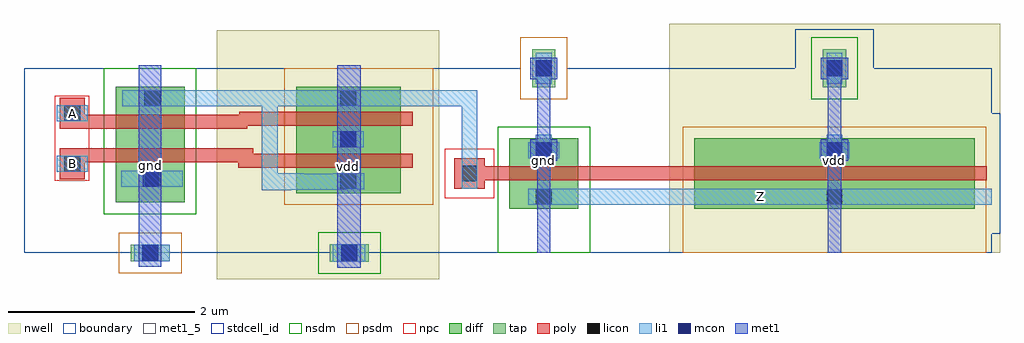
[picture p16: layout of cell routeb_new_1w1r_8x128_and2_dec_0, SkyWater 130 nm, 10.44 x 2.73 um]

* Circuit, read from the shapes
.subckt routeb_new_1w1r_8x128_and2_dec_0 A B Z gnd vdd
XM1 n1 B gnd gnd sky130_fd_pr__nfet_01v8 w=0.74 l=0.15
XM2 routeb_new_1w1r_8x128_pinv_dec_0_1/A A n1 gnd sky130_fd_pr__nfet_01v8 w=0.74 l=0.15
XM3 gnd routeb_new_1w1r_8x128_pinv_dec_0_1/A Z gnd sky130_fd_pr__nfet_01v8 w=0.74 l=0.15
XM4 vdd B routeb_new_1w1r_8x128_pinv_dec_0_1/A vdd sky130_fd_pr__pfet_01v8 w=1.12 l=0.15
XM5 routeb_new_1w1r_8x128_pinv_dec_0_1/A A vdd vdd sky130_fd_pr__pfet_01v8 w=1.12 l=0.15
XM6 vdd routeb_new_1w1r_8x128_pinv_dec_0_1/A Z vdd sky130_fd_pr__pfet_01v8 w=3 l=0.15
.ends

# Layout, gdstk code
from math import pi, radians
import gdstk
lib = gdstk.Library(unit=1e-6, precision=1e-09)
def R(c, l, rs):  # rectangles x0, y0, x1, y1
    for r in rs: c.add(gdstk.rectangle(r[:2], r[2:], *l))
nwell = (64, 20)
diff = (65, 20)
tap = (65, 44)
poly = (66, 20)
licon = (66, 44)
li1 = (67, 20)
mcon = (67, 44)
met1_5 = (68, 5)
met1 = (68, 20)
stdcell_id = (81, 4)
nsdm = (93, 44)
psdm = (94, 20)
npc = (95, 20)
boundary = (235, 4)

sky130_fd_bd_sram__openr = lib.new_cell('sky130_fd_bd_sram__openram_dp_nand2_dec')
R(sky130_fd_bd_sram__openr, nwell, [(2.06,-0.28,4.44,2.38)])
R(sky130_fd_bd_sram__openr, diff, [(0.98,0.54,1.72,1.78), (2.91,0.64,4.03,1.78)])
R(sky130_fd_bd_sram__openr, tap, [(3.27,-0.095,3.69,0.095), (1.14,-0.09,1.56,0.09)])
R(sky130_fd_bd_sram__openr, poly, [(0.38,0.79,0.65,0.97), (2.29,0.91,4.16,0.97), (0.38,0.97,4.16,1.06), (0.38,1.06,2.45,1.12), (0.38,1.33,2.39,1.36), (0.38,1.36,4.16,1.48), (0.38,1.48,0.65,1.66), (2.3,1.48,4.16,1.51)])
R(sky130_fd_bd_sram__openr, licon, [(1.265,-0.085,1.435,0.085), (3.395,-0.085,3.565,0.085), (3.385,0.68,3.555,0.85), (1.295,0.71,1.465,0.88), (0.43,0.87,0.6,1.04), (3.385,1.13,3.555,1.3), (0.43,1.41,0.6,1.58), (1.285,1.57,1.455,1.74), (3.385,1.57,3.555,1.74)])
R(sky130_fd_bd_sram__openr, li1, [(3.3,-0.095,3.65,0.095), (1.18,-0.09,1.56,0.09), (2.545,0.67,2.86,0.675), (2.545,0.675,3.425,0.68), (2.545,0.68,3.64,0.845), (1.04,0.71,1.7,0.88), (2.545,0.845,2.99,0.85), (3.3,0.845,3.64,0.85), (2.545,0.85,2.715,1.57), (0.35,0.87,0.68,1.04), (0.35,0.87,0.68,1.04), (3.3,1.13,3.635,1.3), (0.35,1.41,0.68,1.58), (0.35,1.41,0.68,1.58), (1.05,1.57,4.44,1.74), (1.05,1.57,4.44,1.74)])
R(sky130_fd_bd_sram__openr, mcon, [(1.265,-0.085,1.435,0.085), (3.395,-0.085,3.565,0.085), (1.27,0.71,1.44,0.88), (3.385,1.13,3.555,1.3)])
R(sky130_fd_bd_sram__openr, met1_5, [(3.35,-0.16,3.6,2.01), (1.23,-0.15,1.47,2.01)])
R(sky130_fd_bd_sram__openr, met1, [(3.35,-0.16,3.6,2.01), (3.35,-0.16,3.6,2.01), (1.23,-0.15,1.47,2.01), (1.23,-0.15,1.47,2.01)])
R(sky130_fd_bd_sram__openr, nsdm, [(3.145,-0.22,3.815,0.22), (0.855,0.415,1.845,1.975)])
R(sky130_fd_bd_sram__openr, psdm, [(1.015,-0.215,1.685,0.215), (2.785,0.515,4.38,1.975)])
R(sky130_fd_bd_sram__openr, npc, [(0.33,0.77,0.7,1.68)])
R(sky130_fd_bd_sram__openr, boundary, [(0,0,4.38,1.975)])
sky130_fd_bd_sram__openr.add(gdstk.Label('GND', (1.34,0.41), layer=68, texttype=16))
sky130_fd_bd_sram__openr.add(gdstk.Label('VDD', (3.48,0.47), layer=68, texttype=16))
sky130_fd_bd_sram__openr.add(gdstk.Label('B', (0.515,0.955), layer=67, texttype=16))
sky130_fd_bd_sram__openr.add(gdstk.Label('A', (0.515,1.495), layer=67, texttype=16))
sky130_fd_bd_sram__openr.add(gdstk.Label('Z', (4.27,1.655), layer=67, texttype=16))
sky130_fd_bd_sram__openr.add(gdstk.Label('A', (0.515,1.495), layer=67, texttype=5))
sky130_fd_bd_sram__openr.add(gdstk.Label('B', (0.515,0.955), layer=67, texttype=5))
sky130_fd_bd_sram__openr.add(gdstk.Label('Z', (2.745,1.655), layer=67, texttype=5))
sky130_fd_bd_sram__openr.add(gdstk.Label('vdd', (3.475,0.925), layer=68, texttype=5))
sky130_fd_bd_sram__openr.add(gdstk.Label('gnd', (1.35,0.93), layer=68, texttype=5))

routeb_new_1w1r_8x128_co = lib.new_cell('routeb_new_1w1r_8x128_contact_11')
R(routeb_new_1w1r_8x128_co, nwell, [(-0.295,-0.255,0.545,0.585)])
R(routeb_new_1w1r_8x128_co, diff, [(0,0.02,0.25,0.31)])
R(routeb_new_1w1r_8x128_co, licon, [(0.04,0.08,0.21,0.25)])
R(routeb_new_1w1r_8x128_co, li1, [(0.04,0,0.21,0.33)])
R(routeb_new_1w1r_8x128_co, stdcell_id, [(-0.295,-0.255,0.545,0.585)])
R(routeb_new_1w1r_8x128_co, psdm, [(-0.125,-0.105,0.375,0.435)])
R(routeb_new_1w1r_8x128_co, boundary, [(-0.295,-0.255,0.545,0.585)])

routeb_new_1w1r_8x128_pm = lib.new_cell('routeb_new_1w1r_8x128_pmos_m1_w3_000_sli_dli_da_p')
R(routeb_new_1w1r_8x128_pm, nwell, [(-0.27,-0.27,1.02,3.27)])
R(routeb_new_1w1r_8x128_pm, diff, [(0,0,0.75,3)])
R(routeb_new_1w1r_8x128_pm, poly, [(0.3,-0.13,0.45,3.13), (0.3,-0.13,0.45,3.13)])
R(routeb_new_1w1r_8x128_pm, li1, [(0.04,1.335,0.21,1.665), (0.54,1.335,0.71,1.665)])
R(routeb_new_1w1r_8x128_pm, stdcell_id, [(-0.27,-0.27,1.02,3.27)])
R(routeb_new_1w1r_8x128_pm, psdm, [(-0.125,-0.125,0.875,3.125)])
R(routeb_new_1w1r_8x128_pm, boundary, [(-0.27,-0.27,1.02,3.27)])
routeb_new_1w1r_8x128_pm.add(gdstk.Reference(routeb_new_1w1r_8x128_co, (0,1.335)))
routeb_new_1w1r_8x128_pm.add(gdstk.Reference(routeb_new_1w1r_8x128_co, (0.5,1.335)))
routeb_new_1w1r_8x128_pm.add(gdstk.Label('G', (0.375,1.5), layer=66, texttype=5))
routeb_new_1w1r_8x128_pm.add(gdstk.Label('S', (0.125,1.5), layer=67, texttype=5))
routeb_new_1w1r_8x128_pm.add(gdstk.Label('D', (0.625,1.5), layer=67, texttype=5))

c_routeb_new_1w1r_8x128_co = lib.new_cell('routeb_new_1w1r_8x128_contact_10')
R(c_routeb_new_1w1r_8x128_co, diff, [(0,0.02,0.25,0.31)])
R(c_routeb_new_1w1r_8x128_co, licon, [(0.04,0.08,0.21,0.25)])
R(c_routeb_new_1w1r_8x128_co, li1, [(0.04,0,0.21,0.33)])
R(c_routeb_new_1w1r_8x128_co, stdcell_id, [(-0.125,-0.105,0.375,0.435)])
R(c_routeb_new_1w1r_8x128_co, nsdm, [(-0.125,-0.105,0.375,0.435)])
R(c_routeb_new_1w1r_8x128_co, boundary, [(-0.125,-0.105,0.375,0.435)])

routeb_new_1w1r_8x128_nm = lib.new_cell('routeb_new_1w1r_8x128_nmos_m1_w0_740_sli_dli_da_p')
R(routeb_new_1w1r_8x128_nm, diff, [(0,0,0.75,0.74)])
R(routeb_new_1w1r_8x128_nm, poly, [(0.3,-0.13,0.45,0.87), (0.3,-0.13,0.45,0.87)])
R(routeb_new_1w1r_8x128_nm, li1, [(0.04,0.205,0.21,0.535), (0.54,0.205,0.71,0.535)])
R(routeb_new_1w1r_8x128_nm, stdcell_id, [(-0.125,-0.13,0.875,0.87)])
R(routeb_new_1w1r_8x128_nm, nsdm, [(-0.125,-0.125,0.875,0.865)])
R(routeb_new_1w1r_8x128_nm, boundary, [(-0.125,-0.13,0.875,0.87)])
routeb_new_1w1r_8x128_nm.add(gdstk.Reference(c_routeb_new_1w1r_8x128_co, (0,0.205)))
routeb_new_1w1r_8x128_nm.add(gdstk.Reference(c_routeb_new_1w1r_8x128_co, (0.5,0.205)))
routeb_new_1w1r_8x128_nm.add(gdstk.Label('G', (0.375,0.37), layer=66, texttype=5))
routeb_new_1w1r_8x128_nm.add(gdstk.Label('S', (0.125,0.37), layer=67, texttype=5))
routeb_new_1w1r_8x128_nm.add(gdstk.Label('D', (0.625,0.37), layer=67, texttype=5))

c_routeb_new_1w1r_8x128_co_ = lib.new_cell('routeb_new_1w1r_8x128_contact_12')
R(c_routeb_new_1w1r_8x128_co_, nwell, [(-0.295,-0.215,0.545,0.625)])
R(c_routeb_new_1w1r_8x128_co_, tap, [(0,0,0.25,0.41)])
R(c_routeb_new_1w1r_8x128_co_, licon, [(0.04,0.12,0.21,0.29)])
R(c_routeb_new_1w1r_8x128_co_, li1, [(0.04,0.04,0.21,0.37)])
R(c_routeb_new_1w1r_8x128_co_, stdcell_id, [(-0.295,-0.215,0.545,0.625)])
R(c_routeb_new_1w1r_8x128_co_, nsdm, [(-0.125,-0.125,0.375,0.535)])
R(c_routeb_new_1w1r_8x128_co_, boundary, [(-0.295,-0.215,0.545,0.625)])

c_routeb_new_1w1r_8x128_co__ = lib.new_cell('routeb_new_1w1r_8x128_contact_13')
R(c_routeb_new_1w1r_8x128_co__, li1, [(0.06,0,0.23,0.33)])
R(c_routeb_new_1w1r_8x128_co__, mcon, [(0.06,0.08,0.23,0.25)])
R(c_routeb_new_1w1r_8x128_co__, met1, [(0,0.05,0.29,0.28)])
R(c_routeb_new_1w1r_8x128_co__, stdcell_id, [(0,0,0.29,0.33)])
R(c_routeb_new_1w1r_8x128_co__, boundary, [(0,0,0.29,0.33)])

c_routeb_new_1w1r_8x128_co___ = lib.new_cell('routeb_new_1w1r_8x128_contact_14')
R(c_routeb_new_1w1r_8x128_co___, tap, [(0,0,0.25,0.41)])
R(c_routeb_new_1w1r_8x128_co___, licon, [(0.04,0.12,0.21,0.29)])
R(c_routeb_new_1w1r_8x128_co___, li1, [(0.04,0.04,0.21,0.37)])
R(c_routeb_new_1w1r_8x128_co___, stdcell_id, [(-0.125,-0.125,0.375,0.535)])
R(c_routeb_new_1w1r_8x128_co___, psdm, [(-0.125,-0.125,0.375,0.535)])
R(c_routeb_new_1w1r_8x128_co___, boundary, [(-0.125,-0.125,0.375,0.535)])

c_routeb_new_1w1r_8x128_co____ = lib.new_cell('routeb_new_1w1r_8x128_contact_15')
R(c_routeb_new_1w1r_8x128_co____, poly, [(0,0,0.33,0.33)])
R(c_routeb_new_1w1r_8x128_co____, licon, [(0.08,0.08,0.25,0.25)])
R(c_routeb_new_1w1r_8x128_co____, li1, [(0.08,0,0.25,0.33)])
R(c_routeb_new_1w1r_8x128_co____, stdcell_id, [(-0.1,-0.1,0.43,0.43)])
R(c_routeb_new_1w1r_8x128_co____, npc, [(-0.1,-0.1,0.43,0.43)])
R(c_routeb_new_1w1r_8x128_co____, boundary, [(-0.1,-0.1,0.43,0.43)])

routeb_new_1w1r_8x128_pi = lib.new_cell('routeb_new_1w1r_8x128_pinv_dec_0')
R(routeb_new_1w1r_8x128_pi, nwell, [(2.52,0,6.06,2.45)])
R(routeb_new_1w1r_8x128_pi, poly, [(0.385,0.775,0.68,0.925), (1.68,0.775,2.66,0.925)])
R(routeb_new_1w1r_8x128_pi, li1, [(1.015,0.515,5.97,0.685), (0.3,0.685,0.47,1.015)])
R(routeb_new_1w1r_8x128_pi, met1_5, [(1.11,0,1.25,1.975), (4.22,0,4.36,1.975)])
R(routeb_new_1w1r_8x128_pi, met1, [(1.11,0,1.25,1.975), (4.22,0,4.36,1.975)])
R(routeb_new_1w1r_8x128_pi, stdcell_id, [(0,0,5.97,1.975), (0,0,5.97,1.975)])
R(routeb_new_1w1r_8x128_pi, nsdm, [(0.685,0,1.675,1.225)])
R(routeb_new_1w1r_8x128_pi, psdm, [(2.665,0,5.915,1.225)])
R(routeb_new_1w1r_8x128_pi, boundary, [(0,0,5.97,1.975), (0,0,5.97,1.975)])
routeb_new_1w1r_8x128_pi.add(gdstk.Reference(routeb_new_1w1r_8x128_pm, (2.79,1.225), rotation=3*pi/2))
routeb_new_1w1r_8x128_pi.add(gdstk.Reference(routeb_new_1w1r_8x128_nm, (0.81,1.225), rotation=3*pi/2))
routeb_new_1w1r_8x128_pi.add(gdstk.Reference(c_routeb_new_1w1r_8x128_co_, (4.165,1.77)))
routeb_new_1w1r_8x128_pi.add(gdstk.Reference(c_routeb_new_1w1r_8x128_co__, (4.145,1.81)))
routeb_new_1w1r_8x128_pi.add(gdstk.Reference(c_routeb_new_1w1r_8x128_co___, (1.055,1.77)))
routeb_new_1w1r_8x128_pi.add(gdstk.Reference(c_routeb_new_1w1r_8x128_co__, (1.035,1.81)))
routeb_new_1w1r_8x128_pi.add(gdstk.Reference(c_routeb_new_1w1r_8x128_co____, (0.22,0.685)))
routeb_new_1w1r_8x128_pi.add(gdstk.Reference(c_routeb_new_1w1r_8x128_co__, (1.035,0.935)))
routeb_new_1w1r_8x128_pi.add(gdstk.Reference(c_routeb_new_1w1r_8x128_co__, (4.145,0.935)))
routeb_new_1w1r_8x128_pi.add(gdstk.Label('A', (0.385,0.85), layer=67, texttype=5))
routeb_new_1w1r_8x128_pi.add(gdstk.Label('Z', (3.492,0.6), layer=67, texttype=5))
routeb_new_1w1r_8x128_pi.add(gdstk.Label('gnd', (1.18,0.988), layer=68, texttype=5))
routeb_new_1w1r_8x128_pi.add(gdstk.Label('vdd', (4.29,0.988), layer=68, texttype=5))

routeb_new_1w1r_8x128_an = lib.new_cell('routeb_new_1w1r_8x128_and2_dec_0')
R(routeb_new_1w1r_8x128_an, li1, [(5.395,0.515,10.35,0.685), (4.68,0.85,4.85,1.655), (0.35,0.87,0.68,1.04), (0.35,1.41,0.68,1.58), (2.745,1.57,4.765,1.74), (4.68,1.57,4.85,1.74)])
R(routeb_new_1w1r_8x128_an, met1_5, [(3.35,-0.16,3.6,2.01), (1.23,-0.15,1.47,2.01), (5.49,0,5.63,1.975), (8.6,0,8.74,1.975)])
R(routeb_new_1w1r_8x128_an, met1, [(3.35,-0.16,3.6,2.01), (1.23,-0.15,1.47,2.01), (5.49,0,5.63,1.975), (8.6,0,8.74,1.975)])
R(routeb_new_1w1r_8x128_an, stdcell_id, [(0,0,10.35,1.975)])
R(routeb_new_1w1r_8x128_an, boundary, [(0,0,10.35,1.975)])
routeb_new_1w1r_8x128_an.add(gdstk.Reference(sky130_fd_bd_sram__openr, (0,0)))
routeb_new_1w1r_8x128_an.add(gdstk.Reference(routeb_new_1w1r_8x128_pi, (4.38,0)))
routeb_new_1w1r_8x128_an.add(gdstk.Label('Z', (7.873,0.6), layer=67, texttype=5))
routeb_new_1w1r_8x128_an.add(gdstk.Label('A', (0.515,1.495), layer=67, texttype=5))
routeb_new_1w1r_8x128_an.add(gdstk.Label('B', (0.515,0.955), layer=67, texttype=5))
routeb_new_1w1r_8x128_an.add(gdstk.Label('vdd', (3.475,0.925), layer=68, texttype=5))
routeb_new_1w1r_8x128_an.add(gdstk.Label('vdd', (8.67,0.988), layer=68, texttype=5))
routeb_new_1w1r_8x128_an.add(gdstk.Label('gnd', (5.56,0.988), layer=68, texttype=5))
routeb_new_1w1r_8x128_an.add(gdstk.Label('gnd', (1.35,0.93), layer=68, texttype=5))

lib.write_gds('routeb_new_1w1r_8x128_and2_dec_0.gds')
